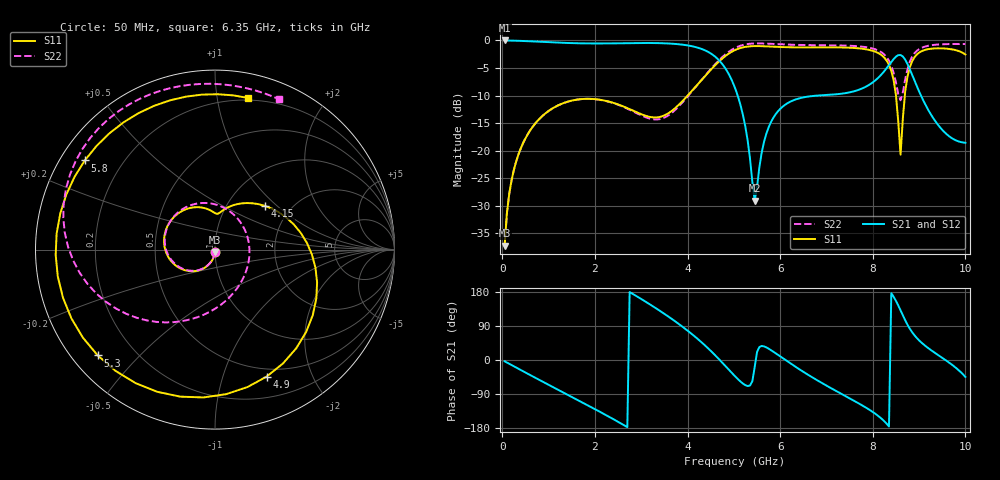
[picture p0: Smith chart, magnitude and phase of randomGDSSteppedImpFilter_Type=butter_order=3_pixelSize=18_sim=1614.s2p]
! freq	dB(S11)	phase(S11)	dB(S12)	phase(S12)
!  dB(S21)	phase(S21)	dB(S22)	phase(S22)
!S-par simulation data
#  GHz  S  DB  R 50
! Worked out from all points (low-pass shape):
!   200 points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, 50 MHz to 10 GHz, reference 50 ohm
!   highest |S21| = -0.01 dB at 50 MHz (marker M1); lowest = -29.1 dB at 5.45 GHz (marker M2)
!   |S21| within 3 dB of the highest: start of sweep to 4.604 GHz; 8.493 GHz to 8.657 GHz (163.8 MHz wide, 1.91 % of centre)
!   lowest |S11| = -37.3 dB at 50 MHz (marker M3), VSWR 1.03, Z = 49.9 - j1.36 ohm
!   |S11| at or under -10 dB: start of sweep to 4.004 GHz; 8.501 GHz to 8.693 GHz (191.5 MHz wide, 2.23 % of centre)
!   |S22| runs from -37.3 to -0.5 dB; largest |S21 - S12| = 0
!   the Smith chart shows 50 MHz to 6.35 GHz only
!   S11 on the Smith chart (normalised r, x): 50 MHz: 1.00, -0.03; 4.15 GHz: 1.49, +0.84; 4.9 GHz: 0.41, -1.40; 5.3 GHz: 0.07, -0.38; 5.8 GHz: 0.07, +0.31; 6.35 GHz: 0.18, +1.22
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0.05  -37.28 -93.1  -0.01 -3.4  -0.01 -3.4  -37.35 -93.4
0.2  -25.38 -103.1  -0.04 -13.3  -0.04 -13.3  -25.43 -103.3
0.5  -17.78 -123.1  -0.12 -33.1  -0.12 -33.1  -17.77 -123.9
1.75  -10.62 159.0  -0.54 -113.4  -0.54 -113.4  -10.63 153.2
2.65  -12.11 108.6  -0.50 -173.6  -0.50 -173.6  -12.20 84.1
3.4  -13.90 84.8  -0.50 130.0  -0.50 130.0  -14.29 -5.7
4.15  -8.63 41.1  -1.16 62.8  -1.16 62.8  -8.70 -99.6
4.6  -4.47 -17.9  -2.97 12.1  -2.97 12.1  -4.28 -144.2
4.9  -2.34 -67.9  -6.26 -26.7  -6.26 -26.7  -2.01 -175.8
5.05  -1.66 -94.4  -9.19 -45.9  -9.19 -45.9  -1.27 168.2
5.3  -1.11 -137.9  -18.26 -68.7  -18.26 -68.7  -0.66 142.8
5.45  -1.03 -162.5  -29.09 -18.6  -29.09 -18.6  -0.55 129.1
5.8  -1.12 145.6  -14.85 26.1  -14.85 26.1  -0.62 101.6
6.35  -1.26 77.7  -10.67 -19.5  -10.67 -19.5  -0.81 67.0
6.7  -1.26 41.3  -10.09 -46.2  -10.09 -46.2  -0.85 47.7
7.45  -1.30 -24.5  -9.51 -97.9  -9.51 -97.9  -0.95 9.2
8  -1.89 -69.8  -7.61 -137.1  -7.61 -137.1  -1.47 -20.1
8.35  -4.43 -108.2  -4.49 -175.4  -4.49 -175.4  -3.67 -44.3
8.6  -20.75 -77.3  -2.65 131.0  -2.65 131.0  -10.86 -21.6
8.8  -4.86 -47.8  -5.24 82.6  -5.24 82.6  -3.86 0.2
9.25  -1.52 -102.3  -13.36 26.6  -13.36 26.6  -0.89 -32.3
10  -2.55 169.5  -18.58 -44.7  -18.58 -44.7  -0.66 -62.0
